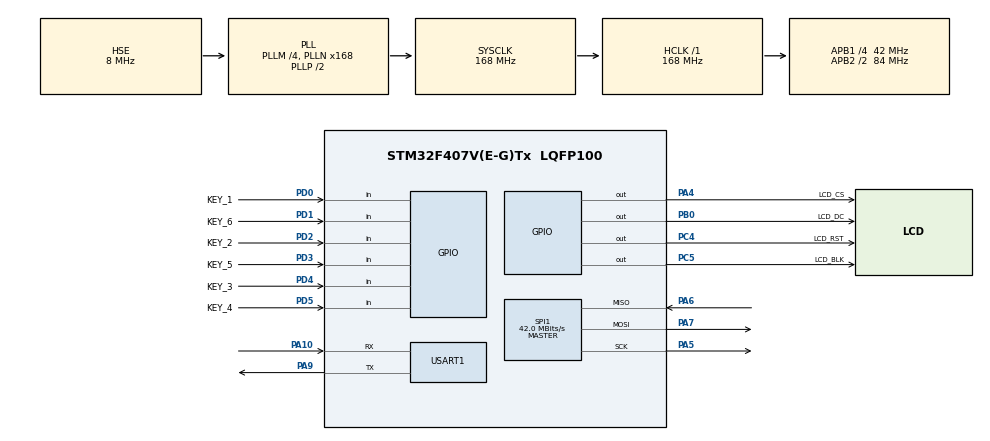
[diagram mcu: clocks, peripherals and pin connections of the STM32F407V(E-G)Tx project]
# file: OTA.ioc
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Dma.Request0=SPI1_TX
Dma.SPI1_TX.0.Direction=DMA_MEMORY_TO_PERIPH
Dma.SPI1_TX.0.FIFOMode=DMA_FIFOMODE_DISABLE
Dma.SPI1_TX.0.Instance=DMA2_Stream5
Dma.SPI1_TX.0.MemDataAlignment=DMA_MDATAALIGN_HALFWORD
Dma.SPI1_TX.0.MemInc=DMA_MINC_ENABLE
Dma.SPI1_TX.0.Mode=DMA_NORMAL
Dma.SPI1_TX.0.PeriphDataAlignment=DMA_PDATAALIGN_HALFWORD
Dma.SPI1_TX.0.PeriphInc=DMA_PINC_DISABLE
Dma.SPI1_TX.0.Priority=DMA_PRIORITY_HIGH
FREERTOS.Tasks01=uiTask,24,1024,StartUiTask,Default,NULL,Dynamic,NULL,NULL
Mcu.Family=STM32F4
Mcu.Name=STM32F407V(E-G)Tx
Mcu.Package=LQFP100
NVIC.DMA2_Stream5_IRQn=true\:5\:0\:false\:false\:true\:true\:false\:true\:true
NVIC.PriorityGroup=NVIC_PRIORITYGROUP_4
NVIC.SPI1_IRQn=true\:5\:0\:false\:false\:true\:true\:true\:true\:true
NVIC.TIM6_DAC_IRQn=true\:15\:0\:false\:false\:true\:false\:false\:true\:true
NVIC.TIM7_IRQn=true\:5\:0\:false\:false\:true\:true\:true\:true\:true
NVIC.TimeBase=TIM6_DAC_IRQn
NVIC.TimeBaseIP=TIM6
NVIC.USART1_IRQn=true\:5\:0\:false\:false\:true\:true\:true\:true\:true
PA10.Mode=Asynchronous
PA10.Signal=USART1_RX
PA13.Mode=Serial_Wire
PA13.Signal=SYS_JTMS-SWDIO
PA14.Mode=Serial_Wire
PA14.Signal=SYS_JTCK-SWCLK
PA4.GPIO_Label=LCD_CS
PA4.GPIO_Speed=GPIO_SPEED_FREQ_VERY_HIGH
PA4.PinState=GPIO_PIN_SET
PA4.Signal=GPIO_Output
PA5.Mode=Full_Duplex_Master
PA5.Signal=SPI1_SCK
PA6.Mode=Full_Duplex_Master
PA6.Signal=SPI1_MISO
PA7.Mode=Full_Duplex_Master
PA7.Signal=SPI1_MOSI
PA9.Mode=Asynchronous
PA9.Signal=USART1_TX
PB0.GPIO_Label=LCD_DC
PB0.GPIO_Speed=GPIO_SPEED_FREQ_VERY_HIGH
PB0.PinState=GPIO_PIN_SET
PB0.Signal=GPIO_Output
PC4.GPIO_Label=LCD_RST
PC4.GPIO_Speed=GPIO_SPEED_FREQ_VERY_HIGH
PC4.PinState=GPIO_PIN_SET
PC4.Signal=GPIO_Output
PC5.GPIO_Label=LCD_BLK
PC5.GPIO_Speed=GPIO_SPEED_FREQ_VERY_HIGH
PC5.PinState=GPIO_PIN_RESET
PC5.Signal=GPIO_Output
PD0.GPIO_Label=KEY_1
PD0.GPIO_PuPd=GPIO_PULLUP
PD0.Signal=GPIO_Input
PD1.GPIO_Label=KEY_6
PD1.GPIO_PuPd=GPIO_PULLUP
PD1.Signal=GPIO_Input
PD2.GPIO_Label=KEY_2
PD2.GPIO_PuPd=GPIO_PULLUP
PD2.Signal=GPIO_Input
PD3.GPIO_Label=KEY_5
PD3.GPIO_PuPd=GPIO_PULLUP
PD3.Signal=GPIO_Input
PD4.GPIO_Label=KEY_3
PD4.GPIO_PuPd=GPIO_PULLUP
PD4.Signal=GPIO_Input
PD5.GPIO_Label=KEY_4
PD5.GPIO_PuPd=GPIO_PULLUP
PD5.Signal=GPIO_Input
PH0-OSC_IN.Mode=HSE-External-Oscillator
PH0-OSC_IN.Signal=RCC_OSC_IN
PH1-OSC_OUT.Mode=HSE-External-Oscillator
PH1-OSC_OUT.Signal=RCC_OSC_OUT
ProjectManager.HeapSize=0x200
ProjectManager.StackSize=0x400
ProjectManager.TargetToolchain=MDK-ARM V5.32
RCC.48MHZClocksFreq_Value=84000000
RCC.AHBFreq_Value=168000000
RCC.APB1CLKDivider=RCC_HCLK_DIV4
RCC.APB1Freq_Value=42000000
RCC.APB1TimFreq_Value=84000000
RCC.APB2CLKDivider=RCC_HCLK_DIV2
RCC.APB2Freq_Value=84000000
RCC.APB2TimFreq_Value=168000000
RCC.CortexFreq_Value=168000000
RCC.HCLKFreq_Value=168000000
RCC.HSE_VALUE=8000000
RCC.HSI_VALUE=16000000
RCC.LSE_VALUE=32768
RCC.PLLM=4
RCC.PLLN=168
RCC.PLLSourceVirtual=RCC_PLLSOURCE_HSE
RCC.SYSCLKFreq_VALUE=168000000
RCC.SYSCLKSource=RCC_SYSCLKSOURCE_PLLCLK
RCC.VCOOutputFreq_Value=336000000
SPI1.BaudRatePrescaler=SPI_BAUDRATEPRESCALER_2
SPI1.CalculateBaudRate=42.0 MBits/s
SPI1.Direction=SPI_DIRECTION_2LINES
SPI1.Mode=SPI_MODE_MASTER
SPI1.VirtualType=VM_MASTER
TIM7.Period=499
TIM7.Prescaler=83
USART1.VirtualMode=VM_ASYNC
VP_FREERTOS_VS_CMSIS_V2.Mode=CMSIS_V2
VP_SYS_VS_tim6.Mode=TIM6
VP_TIM7_VS_ClockSourceINT.Mode=Enable_Timer
board=custom

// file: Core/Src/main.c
/* USER CODE BEGIN Header */
/**
  ******************************************************************************
  * @file           : main.c
  * @brief          : Main program body
  ******************************************************************************
  * @attention
  *
  * Copyright (c) 2026 STMicroelectronics.
  * All rights reserved.
  *
  * This software is licensed under terms that can be found in the LICENSE file
  * in the root directory of this software component.
  * If no LICENSE file comes with this software, it is provided AS-IS.
  *
  ******************************************************************************
  */
/* USER CODE END Header */
#include "main.h"
#include "cmsis_os.h"
#include "dma.h"
#include "spi.h"
#include "tim.h"
#include "usart.h"
#include "gpio.h"

void SystemClock_Config(void);
void MX_FREERTOS_Init(void);

int main(void)
{

  /* USER CODE BEGIN 1 */
  /* App 运行在 0x08010000,必须在任何中断使能前重定位向量表,
     否则中断会错误地跳到 Bootloader(0x08000000)的向量表。 */
  SCB->VTOR = 0x08010000U;
  /* USER CODE END 1 */

  /* MCU Configuration--------------------------------------------------------*/

  /* Reset of all peripherals, Initializes the Flash interface and the Systick. */
  HAL_Init();

  /* Configure the system clock */
  SystemClock_Config();

  /* Initialize all configured peripherals */
  MX_GPIO_Init();
  MX_DMA_Init();
  MX_SPI1_Init();
  MX_USART1_UART_Init();
  MX_TIM7_Init();

  /* Init scheduler */
  osKernelInitialize();  /* Call init function for freertos objects (in cmsis_os2.c) */
  MX_FREERTOS_Init();

  /* Start scheduler */
  osKernelStart();

  /* We should never get here as control is now taken by the scheduler */

  /* Infinite loop */
  while (1)
  {

  }
}

void SystemClock_Config(void)
{
  RCC_OscInitTypeDef RCC_OscInitStruct = {0};
  RCC_ClkInitTypeDef RCC_ClkInitStruct = {0};

  /** Configure the main internal regulator output voltage
  */
  __HAL_RCC_PWR_CLK_ENABLE();
  __HAL_PWR_VOLTAGESCALING_CONFIG(PWR_REGULATOR_VOLTAGE_SCALE1);

  /** Initializes the RCC Oscillators according to the specified parameters
  * in the RCC_OscInitTypeDef structure.
  */
  RCC_OscInitStruct.OscillatorType = RCC_OSCILLATORTYPE_HSE;
  RCC_OscInitStruct.HSEState = RCC_HSE_ON;
  RCC_OscInitStruct.PLL.PLLState = RCC_PLL_ON;
  RCC_OscInitStruct.PLL.PLLSource = RCC_PLLSOURCE_HSE;
  RCC_OscInitStruct.PLL.PLLM = 4;
  RCC_OscInitStruct.PLL.PLLN = 168;
  RCC_OscInitStruct.PLL.PLLP = RCC_PLLP_DIV2;
  RCC_OscInitStruct.PLL.PLLQ = 4;
  if (HAL_RCC_OscConfig(&RCC_OscInitStruct) != HAL_OK)
  {
    Error_Handler();
  }

  /** Initializes the CPU, AHB and APB buses clocks
  */
  RCC_ClkInitStruct.ClockType = RCC_CLOCKTYPE_HCLK|RCC_CLOCKTYPE_SYSCLK
                              |RCC_CLOCKTYPE_PCLK1|RCC_CLOCKTYPE_PCLK2;
  RCC_ClkInitStruct.SYSCLKSource = RCC_SYSCLKSOURCE_PLLCLK;
  RCC_ClkInitStruct.AHBCLKDivider = RCC_SYSCLK_DIV1;
  RCC_ClkInitStruct.APB1CLKDivider = RCC_HCLK_DIV4;
  RCC_ClkInitStruct.APB2CLKDivider = RCC_HCLK_DIV2;

  if (HAL_RCC_ClockConfig(&RCC_ClkInitStruct, FLASH_LATENCY_5) != HAL_OK)
  {
    Error_Handler();
  }
}

void HAL_TIM_PeriodElapsedCallback(TIM_HandleTypeDef *htim)
{
  if (htim->Instance == TIM6)
  {
    HAL_IncTick();
  }
}

void Error_Handler(void)
{
  __disable_irq();
  while (1)
  {
  }
}

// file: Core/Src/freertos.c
/* USER CODE BEGIN Header */
/**
  ******************************************************************************
  * File Name          : freertos.c
  * Description        : FreeRTOS 应用任务配置
  ******************************************************************************
  * @attention
  *
  * Copyright (c) 2026 STMicroelectronics.
  * All rights reserved.
  *
  * This software is licensed under terms that can be found in the LICENSE file
  * in the root directory of this software component.
  * If no LICENSE file comes with this software, it is provided AS-IS.
  *
  ******************************************************************************
  */
/* USER CODE END Header */

#include "FreeRTOS.h"
#include "task.h"
#include "main.h"
#include "cmsis_os.h"

/* USER CODE BEGIN Includes */
#include "lvgl.h"
#include "lv_port_indev.h"
#include "lv_port_lcd_stm32.h"
#include "ui_app.h"
#include "ui_nav.h"
#include "BSP_Key.h"
#include "settings_page.h"
#include "wifi_manager.h"
#include "wifi_at_test.h"

/* USER CODE END Includes */

/* USER CODE BEGIN PD */
#define UI_TASK_PERIOD_MS 5U

/* USER CODE END PD */

/* Definitions for uiTask */
osThreadId_t uiTaskHandle;
const osThreadAttr_t uiTask_attributes = {
  .name = "uiTask",
  .stack_size = 1024 * 4,
  .priority = (osPriority_t) osPriorityNormal,
};

/* USER CODE BEGIN FunctionPrototypes */

/* 根据设置页返回的连发模式，转换为按键重复触发的时间间隔。 */
static uint32_t ui_key_repeat_interval_ms(uint8_t mode);

/* USER CODE END FunctionPrototypes */

void StartUiTask(void *argument);

void MX_FREERTOS_Init(void); /* (MISRA C 2004 rule 8.1) */

void MX_FREERTOS_Init(void) {

  /* Create the thread(s) */
  /* creation of uiTask */
  uiTaskHandle = osThreadNew(StartUiTask, NULL, &uiTask_attributes);

}

/* USER CODE BEGIN Header_StartUiTask */
/**
  * @brief  LVGL 界面任务入口。
  * @param  argument: 未使用。
  * @retval 无返回值。
  */
/* USER CODE END Header_StartUiTask */
void StartUiTask(void *argument)
{
  /* USER CODE BEGIN StartUiTask */
  BSP_Key_t key = BSP_KEY_NONE;                 // 保存本轮读取到的稳定按键
  static BSP_Key_t last_key = BSP_KEY_NONE;     // 保存上一轮按键，用于识别新按下动作
  static uint32_t key_hold_ms = 0U;             // 累计当前按键已经保持按下的时间
  static uint8_t key_input_armed = 1U;          // 默认允许按键输入，避免启动时低电平导致永久锁死
  uint32_t repeat_interval_ms = 0U;             // 保存当前设置对应的连发周期

  (void)argument;

  lv_init();
  lv_tick_set_cb(HAL_GetTick);
  if (!lv_port_disp_init())
  {
    Error_Handler();
  }
  lv_port_indev_init();
  ui_app_init();
  WifiManager_Init(); // 初始化 ESP8266 的 USART1 接收和 WiFi 状态机。
  WifiAtTest_Init(); // 初始化 AT 诊断状态；默认不接管普通 WiFi 串口。

  /* LVGL 只能由该任务调用，其他任务后续通过消息队列通知界面。 */
  for(;;)
  {
    WifiManager_Process(); // 持续处理 ESP8266 返回数据、扫描结果和命令超时。
    WifiAtTest_Process(); // AT 测试页面打开时，显示 ESP8266 的原始回包和 API 结果。
    lv_timer_handler();
    osDelay(UI_TASK_PERIOD_MS);

    /* 每轮只在这里扫描一次实体按键，其他模块只读取消抖后的缓存结果。 */
    BSP_Key_Update();

    /*
     * 按键轮询策略：
     * 1. 首次按下立即分发一次；
     * 2. 按住不放时，按照“按键连发”设置周期重复分发；
     * 3. 设置为关闭时保持原来的单次触发行为。
     */
    key = BSP_Key_Read(); // 读取已经完成消抖的稳定按键状态

    if (key == BSP_KEY_NONE) // 判断当前是否已经释放全部按键
    {
      key_input_armed = 1U; // 上电后首次确认全部释放，才允许接收按键事件
      key_hold_ms = 0U; // 释放按键后清空本次长按计时
      last_key = BSP_KEY_NONE; // 释放按键后允许下一次按下立即触发
      continue; // 当前没有按键，无需再进行连发计算
    }

    if (key_input_armed == 0U) // 防止上电瞬间的低电平误触发解锁
    {
      continue; // 等待按键全部释放后再开始处理按键
    }

    if (key != last_key) // 判断当前按键是否是一次新的按下动作
    {
      ui_nav_handle_key(key); // 新按下的按键立即分发给当前页面
      key_hold_ms = 0U; // 新按键从零开始统计长按时间
    }
    else
    {
      key_hold_ms += UI_TASK_PERIOD_MS; // 同一个按键持续按下时累加按住时间
      repeat_interval_ms = ui_key_repeat_interval_ms(Settings_GetKeyRepeatMode()); // 读取全局设置对应的连发周期

      if ((repeat_interval_ms > 0U) && (key_hold_ms >= repeat_interval_ms)) // 判断是否开启连发且已到达下一次重复时间
      {
        ui_nav_handle_key(key); // 将长按产生的重复按键分发给当前页面
        key_hold_ms = 0U; // 重新开始计算下一次连发间隔
      }
    }

    last_key = key; // 保存本轮按键，为下一轮的按下沿判断做准备
  }
  /* USER CODE END StartUiTask */
}

/* USER CODE BEGIN Application */

/*
 * 根据设置页中的“按键连发”选项返回重复触发周期。
 * 模式 0 表示关闭连发；模式 1、2、3 分别表示慢、正常、快。
 */
static uint32_t ui_key_repeat_interval_ms(uint8_t mode)
{
  switch (mode)
  {
    case 1U:
      return 500U;  // 慢速连发：每 500 ms 触发一次

    case 2U:
      return 250U;  // 正常连发：每 250 ms 触发一次

    case 3U:
      return 100U;  // 快速连发：每 100 ms 触发一次

    default:
      return 0U;    // 关闭连发：只响应第一次按下
  }
}

/* USER CODE END Application */
